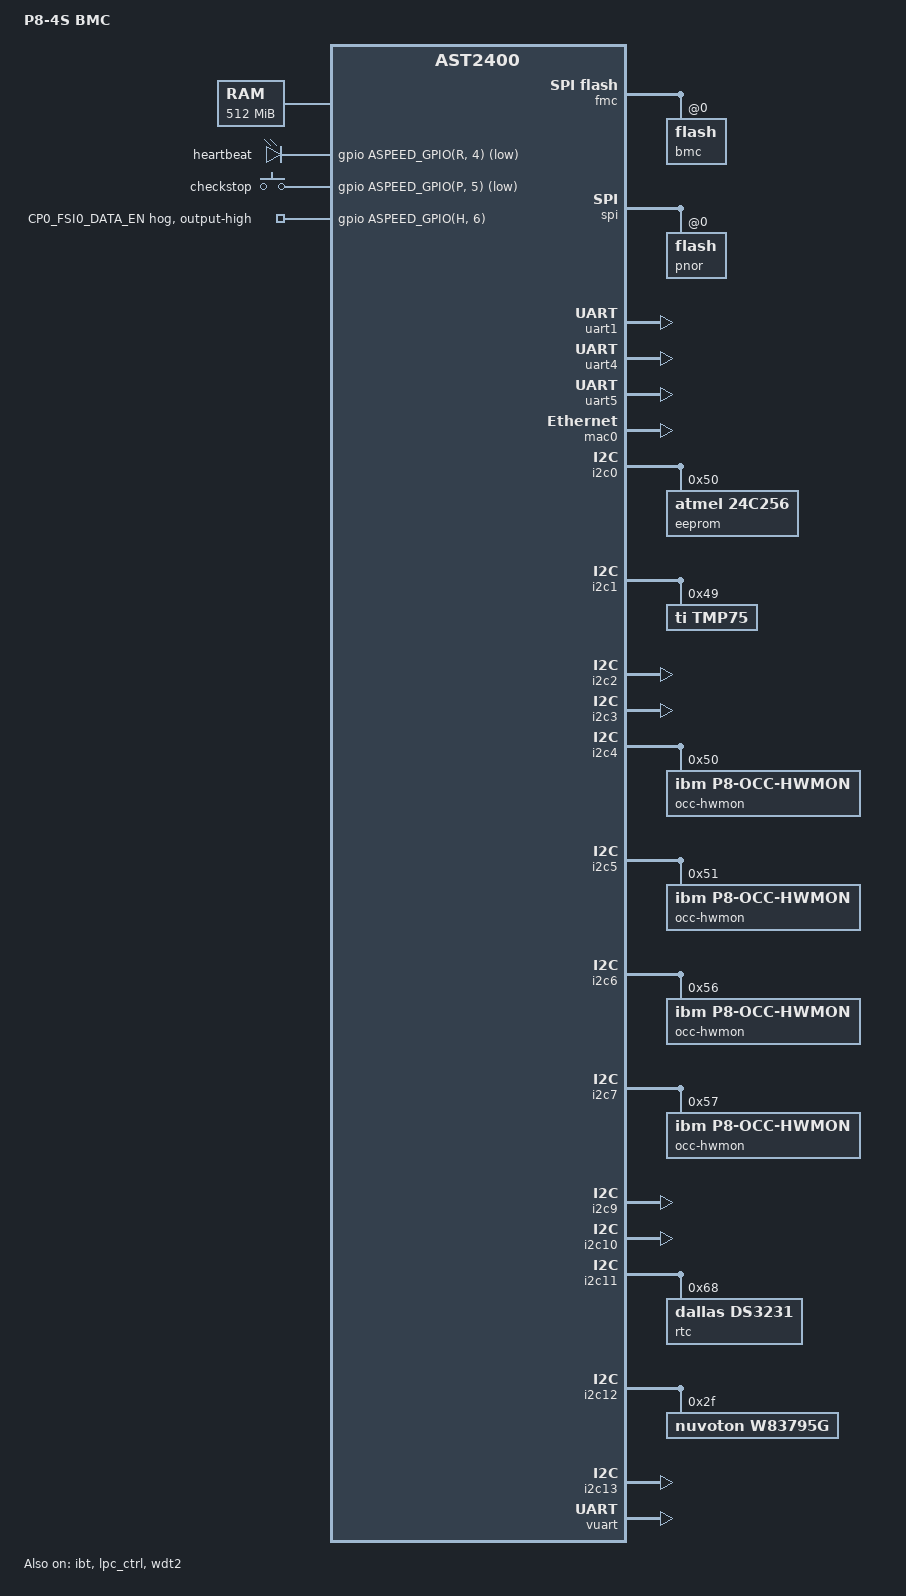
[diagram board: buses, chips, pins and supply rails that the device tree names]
// SPDX-License-Identifier: GPL-2.0+
/dts-v1/;

#include "aspeed-g4.dtsi"
#include <dt-bindings/gpio/aspeed-gpio.h>

/ {
	model = "P8-4S BMC";
	compatible = "chiabing,p8-4s-bmc", "aspeed,ast2400";

	chosen {
		stdout-path = &uart5;
		bootargs = "console=ttyS4,115200 earlyprintk";
	};

	memory {
		reg = <0x40000000 0x20000000>;
	};

	reserved-memory {
		#address-cells = <1>;
		#size-cells = <1>;
		ranges;

		vga_memory: framebuffer@5f000000 {
			no-map;
			reg = <0x5f000000 0x01000000>; /* 16MB */
		};

		flash_memory: region@98000000 {
			no-map;
			reg = <0x98000000 0x04000000>; /* 64MB */
		};
	};

	leds {
		compatible = "gpio-leds";

		heartbeat {
			gpios = <&gpio ASPEED_GPIO(R, 4) GPIO_ACTIVE_LOW>;
		};
	};

	gpio-keys {
		compatible = "gpio-keys";

		checkstop {
			label = "checkstop";
			gpios = <&gpio ASPEED_GPIO(P, 5) GPIO_ACTIVE_LOW>;
			linux,code = <ASPEED_GPIO(P, 5)>;
		};
	};
};

&fmc {
	status = "okay";
	flash@0 {
		status = "okay";
		m25p,fast-read;
		label = "bmc";
#include "openbmc-flash-layout.dtsi"
	};
};

&spi {
	status = "okay";
	pinctrl-names = "default";
	pinctrl-0 = <&pinctrl_spi1debug_default>;

	flash@0 {
		status = "okay";
		m25p,fast-read;
		label = "pnor";
	};
};

&uart1 {
	status = "okay";

	pinctrl-names = "default";
	pinctrl-0 = <&pinctrl_txd1_default
			&pinctrl_rxd1_default
			&pinctrl_nrts1_default
			&pinctrl_ndtr1_default
			&pinctrl_ndsr1_default
			&pinctrl_ncts1_default
			&pinctrl_ndcd1_default
			&pinctrl_nri1_default>;
};

&uart4 {
	status = "okay";
};

&uart5 {
	status = "okay";
};

&mac0 {
	status = "okay";

	use-ncsi;

	pinctrl-names = "default";
	pinctrl-0 = <&pinctrl_rmii1_default>;
};

&i2c0 {
	status = "okay";

	eeprom@50 {
		compatible = "atmel,24c256";
		reg = <0x50>;
		pagesize = <64>;
	};
};

&i2c1 {
	status = "okay";

	tmp75@49 {
		compatible = "ti,tmp75";
		reg = <0x49>;
	};
};

&i2c2 {
	status = "okay";
};

&i2c3 {
	status = "okay";

};

&i2c4 {
	status = "okay";

	occ-hwmon@50 {
		compatible = "ibm,p8-occ-hwmon";
		reg = <0x50>;
	};
};

&i2c5 {
	status = "okay";

	occ-hwmon@51 {
		compatible = "ibm,p8-occ-hwmon";
		reg = <0x51>;
	};
};

&i2c6 {
	status = "okay";

	occ-hwmon@56 {
		compatible = "ibm,p8-occ-hwmon";
		reg = <0x56>;
	};
};

&i2c7 {
	status = "okay";

	occ-hwmon@57 {
		compatible = "ibm,p8-occ-hwmon";
		reg = <0x57>;
	};
};

&i2c9 {
	status = "okay";
};

&i2c10 {
	status = "okay";
};

&i2c11 {
	status = "okay";

	rtc@68 {
		compatible = "dallas,ds3231";
		reg = <0x68>;
	};
};

&i2c12 {
	status = "okay";

	w83795g@2f {
		compatible = "nuvoton,w83795g";
		reg = <0x2f>;
	};
};

&i2c13 {
	status = "okay";
};

&vuart {
	status = "okay";
};

&ibt {
	status = "okay";
};

&lpc_ctrl {
	status = "okay";
	memory-region = <&flash_memory>;
	flash = <&spi>;
};

&mbox {
	status = "okay";
};

&wdt2 {
	status = "okay";
};

&gpio {

	pin_gpio_h6 {
		gpio-hog;
		gpios = <ASPEED_GPIO(H, 6) GPIO_ACTIVE_HIGH>;
		output-high;
		line-name = "CP0_FSI0_DATA_EN";
	};
};
